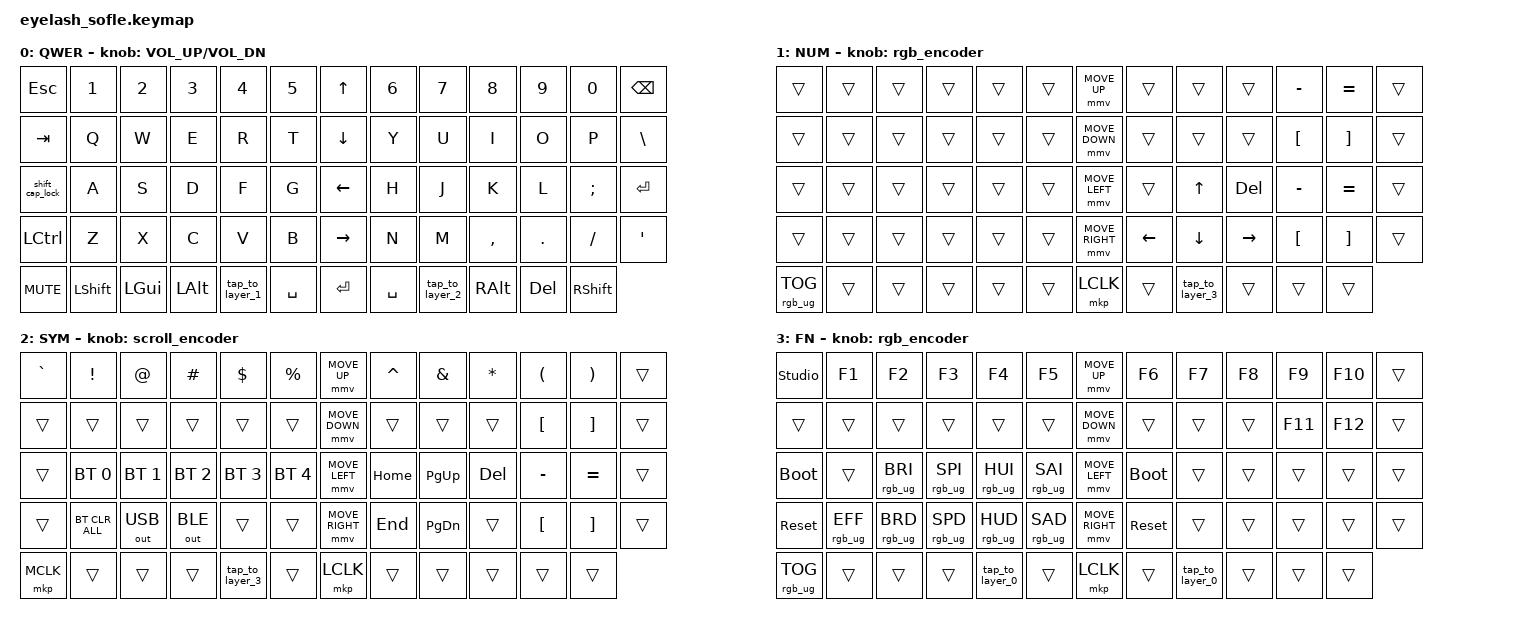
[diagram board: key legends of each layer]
#define ZMK_POINTING_DEFAULT_MOVE_VAL 1200  // 600
#define ZMK_POINTING_DEFAULT_SCRL_VAL 35    // 10

#include <input/processors.dtsi>
#include <zephyr/dt-bindings/input/input-event-codes.h>
#include <behaviors.dtsi>
#include <dt-bindings/zmk/bt.h>
#include <dt-bindings/zmk/keys.h>
#include <dt-bindings/zmk/outputs.h>
#include <dt-bindings/zmk/pointing.h>
#include <dt-bindings/zmk/rgb.h>

/ {
    zip_scroll_scaler: zip_scroll_scaler {
        compatible = "zmk,input-processor-scaler";
        #input-processor-cells = <2>;
        type = <INPUT_EV_REL>;
        codes = <INPUT_REL_WHEEL INPUT_REL_HWHEEL>;
        track-remainders;
    };
};

&mmv_input_listener { input-processors = <&zip_xy_scaler 2 1>; };

&msc_input_listener { input-processors = <&zip_scroll_scaler 2 1>; };

&msc {
    acceleration-exponent = <0>;      // 0
    time-to-max-speed-ms = <0>;       // 300
    delay-ms = <0>;                   // 0
};

&mmv {
    time-to-max-speed-ms = <400>;
    acceleration-exponent = <1>;
};

&soft_off { hold-time-ms = <2000>; };

/ {
    scroll_encoder: scroll_encoder {
        compatible = "zmk,behavior-sensor-rotate";
        #sensor-binding-cells = <0>;
        bindings = <&msc SCRL_DOWN>, <&msc SCRL_UP>;

        tap-ms = <100>;
    };

    shift_cap_lock: shift_cap_lock {
        compatible = "zmk,behavior-tap-dance";
        label = "SHIFT_CAP_LOCK";
        #binding-cells = <0>;
        bindings = <&kp LSHFT>, <&kp CAPS>;
    };

    tap_to_layer_1: tap_to_layer_1 {
        compatible = "zmk,behavior-tap-dance";
        label = "TAP_TO_LAYER_1";
        #binding-cells = <0>;
        bindings = <&mo 1>, <&none>, <&tog 1>;
    };

    tap_to_layer_2: tap_to_layer_2 {
        compatible = "zmk,behavior-tap-dance";
        label = "TAP_TO_LAYER_2";
        #binding-cells = <0>;
        bindings = <&mo 2>, <&none>, <&tog 2>;
    };

    rgb_encoder: rgb_encoder {
        compatible = "zmk,behavior-sensor-rotate";
        label = "RGB_ENCODER";
        #sensor-binding-cells = <0>;
        bindings = <&rgb_ug RGB_BRI>, <&rgb_ug RGB_BRD>;
    };

    tap_to_layer_3: tap_to_layer_3 {
        compatible = "zmk,behavior-tap-dance";
        label = "TAP_TO_LAYER_3";
        #binding-cells = <0>;
        bindings = <&mo 3>, <&none>, <&tog 3>;
    };

    tap_to_layer_0: tap_to_layer_0 {
        compatible = "zmk,behavior-tap-dance";
        label = "TAP_TO_LAYER_0";
        #binding-cells = <0>;
        bindings = <&none>, <&none>, <&tog 3>;
    };

    behaviors {
    };

    combos {
        compatible = "zmk,combos";

        softoff {
            bindings = <&soft_off>;
            key-positions = <1 2 3 4>;
        };
    };

    keymap {
        compatible = "zmk,keymap";

        QWERTY {
            bindings = <
&kp ESC          &kp N1          &kp N2        &kp N3        &kp N4           &kp N5       &kp UP_ARROW     &kp N6     &kp N7           &kp N8         &kp N9   &kp N0     &kp BACKSPACE
&kp TAB          &kp Q           &kp W         &kp E         &kp R            &kp T        &kp DOWN_ARROW   &kp Y      &kp U            &kp I          &kp O    &kp P      &kp BSLH
&shift_cap_lock  &kp A           &kp S         &kp D         &kp F            &kp G        &kp LEFT_ARROW   &kp H      &kp J            &kp K          &kp L    &kp SEMI   &kp RET
&kp LCTRL        &kp Z           &kp X         &kp C         &kp V            &kp B        &kp RIGHT_ARROW  &kp N      &kp M            &kp COMMA      &kp DOT  &kp FSLH   &kp SQT
&kp C_MUTE       &kp LEFT_SHIFT  &kp LEFT_GUI  &kp LEFT_ALT  &tap_to_layer_1  &kp SPACE    &kp ENTER        &kp SPACE  &tap_to_layer_2  &kp RIGHT_ALT  &kp DEL  &kp RSHFT
            >;

            sensor-bindings = <&inc_dec_kp C_VOL_UP C_VOL_DN>;
            display-name = "QWER";
        };

        Numbers {
            bindings = <
&trans           &trans  &trans  &trans  &trans  &trans    &mmv MOVE_UP     &trans    &trans           &trans     &kp MINUS  &kp EQUAL  &trans
&trans           &trans  &trans  &trans  &trans  &trans    &mmv MOVE_DOWN   &trans    &trans           &trans     &kp LBKT   &kp RBKT   &trans
&trans           &trans  &trans  &trans  &trans  &trans    &mmv MOVE_LEFT   &trans    &kp UP           &kp DEL    &kp MINUS  &kp EQUAL  &trans
&trans           &trans  &trans  &trans  &trans  &trans    &mmv MOVE_RIGHT  &kp LEFT  &kp DOWN         &kp RIGHT  &kp LBKT   &kp RBKT   &trans
&rgb_ug RGB_TOG  &trans  &trans  &trans  &trans  &trans    &mkp LCLK        &trans    &tap_to_layer_3  &trans     &trans     &trans
            >;

            display-name = "NUM";
            sensor-bindings = <&rgb_encoder>;
        };

        Symbols {
            bindings = <
&kp GRAVE  &kp EXCL        &kp AT        &kp HASH      &kp DLLR         &kp PRCNT       &mmv MOVE_UP     &kp CARET  &kp AMPS       &kp STAR  &kp LPAR   &kp RPAR   &trans
&trans     &trans          &trans        &trans        &trans           &trans          &mmv MOVE_DOWN   &trans     &trans         &trans    &kp LBKT   &kp RBKT   &trans
&trans     &bt BT_SEL 0    &bt BT_SEL 1  &bt BT_SEL 2  &bt BT_SEL 3     &bt BT_SEL 4    &mmv MOVE_LEFT   &kp HOME   &kp PG_UP      &kp DEL   &kp MINUS  &kp EQUAL  &trans
&trans     &bt BT_CLR_ALL  &out OUT_USB  &out OUT_BLE  &trans           &trans          &mmv MOVE_RIGHT  &kp END    &kp PAGE_DOWN  &trans    &kp LBKT   &kp RBKT   &trans
&mkp MCLK  &trans          &trans        &trans        &tap_to_layer_3  &trans          &mkp LCLK        &trans     &trans         &trans    &trans     &trans
            >;

            sensor-bindings = <&scroll_encoder>;
            label = "SYM";
        };

        Functions {
            bindings = <
&studio_unlock   &kp F1           &kp F2           &kp F3           &kp F4           &kp F5             &mmv MOVE_UP     &kp F6       &kp F7           &kp F8  &kp F9   &kp F10  &trans
&trans           &trans           &trans           &trans           &trans           &trans             &mmv MOVE_DOWN   &trans       &trans           &trans  &kp F11  &kp F12  &trans
&bootloader      &trans           &rgb_ug RGB_BRI  &rgb_ug RGB_SPI  &rgb_ug RGB_HUI  &rgb_ug RGB_SAI    &mmv MOVE_LEFT   &bootloader  &trans           &trans  &trans   &trans   &trans
&sys_reset       &rgb_ug RGB_EFF  &rgb_ug RGB_BRD  &rgb_ug RGB_SPD  &rgb_ug RGB_HUD  &rgb_ug RGB_SAD    &mmv MOVE_RIGHT  &sys_reset   &trans           &trans  &trans   &trans   &trans
&rgb_ug RGB_TOG  &trans           &trans           &trans           &tap_to_layer_0  &trans             &mkp LCLK        &trans       &tap_to_layer_0  &trans  &trans   &trans
            >;

            sensor-bindings = <&rgb_encoder>;
            label = "FN";
        };
    };
};
